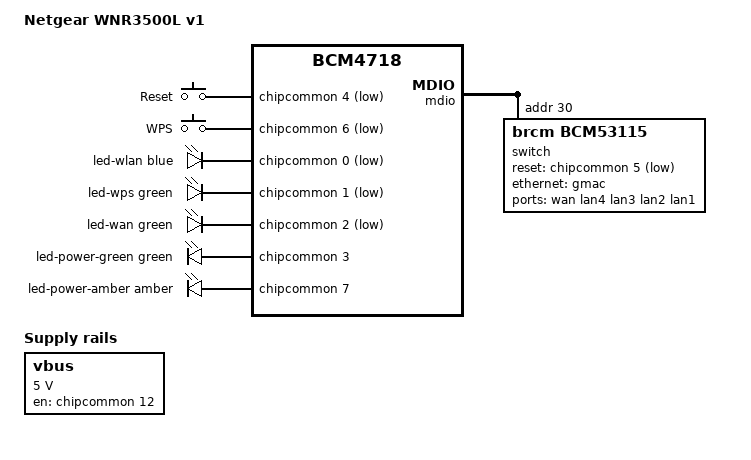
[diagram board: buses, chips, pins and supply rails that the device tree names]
// SPDX-License-Identifier: GPL-2.0-or-later OR MIT

/dts-v1/;

#include <dt-bindings/gpio/gpio.h>
#include <dt-bindings/input/input.h>
#include <dt-bindings/leds/common.h>

#include "bcm4718.dtsi"

/ {
	compatible = "netgear,wnr3500l-v1", "brcm,bcm4718";
	model = "Netgear WNR3500L v1";

	aliases {
		serial0 = &uart0;
	};

	chosen {
		stdout-path = "serial0:115200n8";
	};

	keys {
		compatible = "gpio-keys";

		button-restart {
			label = "Reset";
			linux,code = <KEY_RESTART>;
			gpios = <&chipcommon 4 GPIO_ACTIVE_LOW>;
		};

		button-wps {
			label = "WPS";
			linux,code = <KEY_WPS_BUTTON>;
			gpios = <&chipcommon 6 GPIO_ACTIVE_LOW>;
		};
	};

	leds {
		compatible = "gpio-leds";

		led-wlan {
			color = <LED_COLOR_ID_BLUE>;
			function = LED_FUNCTION_WLAN;
			gpios = <&chipcommon 0 GPIO_ACTIVE_LOW>;
		};

		led-wps {
			color = <LED_COLOR_ID_GREEN>;
			function = LED_FUNCTION_WPS;
			gpios = <&chipcommon 1 GPIO_ACTIVE_LOW>;
		};

		led-wan {
			color = <LED_COLOR_ID_GREEN>;
			function = LED_FUNCTION_WAN;
			gpios = <&chipcommon 2 GPIO_ACTIVE_LOW>;
		};

		led-power-green {
			color = <LED_COLOR_ID_GREEN>;
			function = LED_FUNCTION_POWER;
			gpios = <&chipcommon 3 GPIO_ACTIVE_HIGH>;
			default-state = "on";
		};

		led-power-amber {
			color = <LED_COLOR_ID_AMBER>;
			function = LED_FUNCTION_POWER;
			gpios = <&chipcommon 7 GPIO_ACTIVE_HIGH>;
		};
	};

	vbus: regulator-usb-vbus {
		compatible = "regulator-fixed";
		regulator-name = "usb-vbus";
		regulator-min-microvolt = <5000000>;
		regulator-max-microvolt = <5000000>;
		gpios = <&chipcommon 12 GPIO_ACTIVE_HIGH>;
		enable-active-high;
	};
};

&mdio {
	switch@1e {
		compatible = "brcm,bcm53115";
		reg = <0x1e>;
		reset-gpios = <&chipcommon 5 GPIO_ACTIVE_LOW>;

		ports {
			#address-cells = <1>;
			#size-cells = <0>;

			port@0 {
				reg = <0>;
				label = "wan";
			};

			port@1 {
				reg = <1>;
				label = "lan4";
			};

			port@2 {
				reg = <2>;
				label = "lan3";
			};

			port@3 {
				reg = <3>;
				label = "lan2";
			};

			port@4 {
				reg = <4>;
				label = "lan1";
			};

			port@8 {
				reg = <8>;
				ethernet = <&gmac>;
				phy-mode = "rgmii-id";

				fixed-link {
					speed = <1000>;
					full-duplex;
				};
			};
		};
	};
};

&usb_phy {
	phy-supply = <&vbus>;
};
